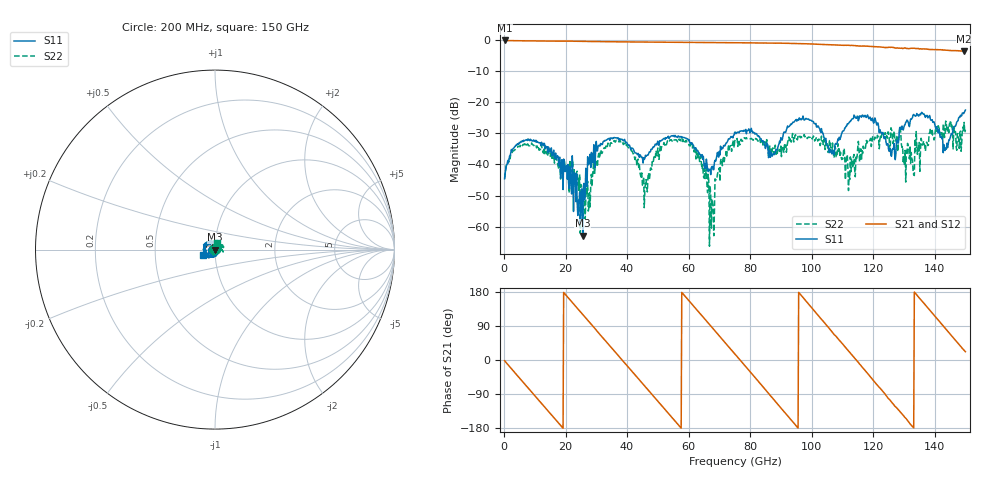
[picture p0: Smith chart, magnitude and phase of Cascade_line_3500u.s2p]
!  2-Port S-parameters saved by WinCal
! VAR MeasName=S-Parameters (CALIBRATED_DATA) read from VNA (MS4647B)
! VAR MeasDate=16-Sep-21 11:22:12
! VAR NAME=27ps_3500u
! VAR FILENAME=27ps_3500u.S2P
! VAR DATE=16-Sep-21 11:22:12
! VAR PHYS_PORTS=1,2
! VAR ObjTypeName=DATASET
! VAR IndexType=Frequency
# Hz S RI R 50
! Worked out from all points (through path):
!   750 points, 200 MHz to 150 GHz, reference 50 ohm
!   highest |S21| = -0.04 dB at 200 MHz (marker M1); lowest = -3.5 dB at 149.6 GHz (marker M2)
!   group delay of S21, straight-line fit = 26.3 ps
!   lowest |S11| = -62.9 dB at 25.6 GHz (marker M3), VSWR 1.00, Z = 50.1 - j0.0199 ohm
!   |S11| at or under -10 dB: start of sweep to end of sweep
!   |S22| runs from -66.3 to -25.8 dB; largest |S21 - S12| = 0.05
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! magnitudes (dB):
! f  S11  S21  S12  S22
! 200 MHz  -44.6  0.0  0.0  -44.6
! 10.2 GHz  -32.7  -0.2  -0.2  -34.4
! 25.2 GHz  -47.9  -0.3  -0.3  -49.2
! 25.6 GHz  -62.9  -0.3  -0.3  -56.4
! 27.8 GHz  -38.8  -0.4  -0.4  -49.1
! 32.8 GHz  -32.3  -0.4  -0.4  -34.7
! 40.4 GHz  -33.8  -0.5  -0.5  -34.5
! 46 GHz  -37.0  -0.6  -0.5  -45.7
! 50.2 GHz  -33.8  -0.6  -0.6  -36.5
! 61.6 GHz  -33.8  -0.7  -0.7  -34.7
! 67.8 GHz  -40.6  -0.7  -0.7  -52.1
! 69.2 GHz  -37.2  -0.7  -0.7  -44.5
! 75.2 GHz  -29.6  -0.8  -0.8  -32.1
! 87.2 GHz  -37.3  -0.9  -0.9  -35.3
! 100.2 GHz  -26.1  -1.2  -1.2  -31.8
! 106.8 GHz  -35.5  -1.5  -1.5  -33.1
! 112.4 GHz  -26.3  -1.7  -1.6  -44.8
! 125.2 GHz  -35.7  -2.2  -2.2  -31.3
! 132.8 GHz  -24.9  -2.5  -2.7  -38.5
! 143.4 GHz  -35.5  -3.2  -3.2  -30.1
! 149.6 GHz  -23.3  -3.5  -3.5  -26.4
! 150 GHz  -22.5  -3.5  -3.5  -28.8
